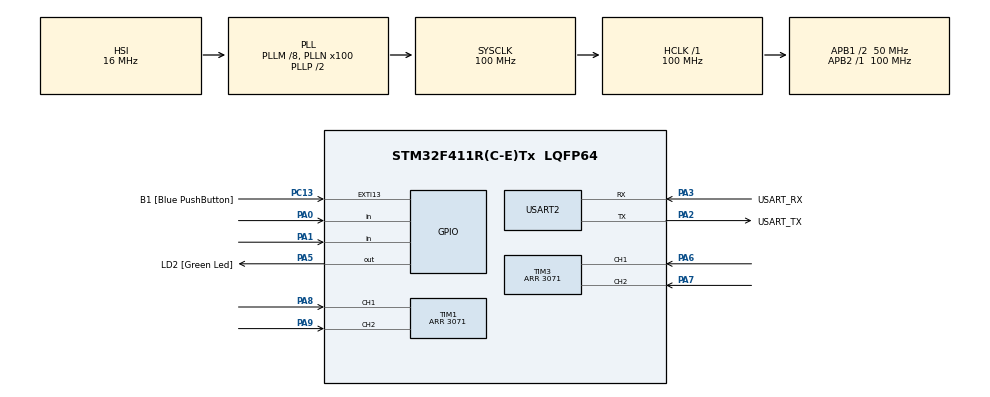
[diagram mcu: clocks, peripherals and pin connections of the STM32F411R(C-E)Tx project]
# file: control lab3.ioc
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Mcu.Family=STM32F4
Mcu.Name=STM32F411R(C-E)Tx
Mcu.Package=LQFP64
NVIC.PriorityGroup=NVIC_PRIORITYGROUP_0
NVIC.TIM1_BRK_TIM9_IRQn=true\:0\:0\:false\:false\:true\:true\:true
NVIC.TIM1_CC_IRQn=true\:0\:0\:false\:false\:true\:true\:true
NVIC.TIM1_TRG_COM_TIM11_IRQn=true\:0\:0\:false\:false\:true\:true\:true
NVIC.TIM1_UP_TIM10_IRQn=true\:0\:0\:false\:false\:true\:true\:true
NVIC.TIM2_IRQn=true\:0\:0\:false\:false\:true\:true\:true
NVIC.TIM3_IRQn=true\:0\:0\:false\:false\:true\:true\:true
PA0-WKUP.GPIO_PuPd=GPIO_PULLUP
PA0-WKUP.Signal=GPIO_Input
PA1.GPIO_PuPd=GPIO_PULLUP
PA1.Signal=GPIO_Input
PA13.GPIO_Label=TMS
PA13.Mode=Serial_Wire
PA13.Signal=SYS_JTMS-SWDIO
PA14.GPIO_Label=TCK
PA14.Mode=Serial_Wire
PA14.Signal=SYS_JTCK-SWCLK
PA2.GPIO_Label=USART_TX
PA2.Mode=Asynchronous
PA2.Signal=USART2_TX
PA3.GPIO_Label=USART_RX
PA3.Mode=Asynchronous
PA3.Signal=USART2_RX
PA5.GPIO_Label=LD2 [Green Led]
PA5.Signal=GPIO_Output
PA6.Signal=S_TIM3_CH1
PA7.Signal=S_TIM3_CH2
PA8.Signal=S_TIM1_CH1
PA9.Signal=S_TIM1_CH2
PB3.GPIO_Label=SWO
PB3.Signal=SYS_JTDO-SWO
PC13-ANTI_TAMP.GPIO_Label=B1 [Blue PushButton]
PC13-ANTI_TAMP.GPIO_ModeDefaultEXTI=GPIO_MODE_IT_FALLING
PC13-ANTI_TAMP.Signal=GPXTI13
PC14-OSC32_IN.Mode=LSE-External-Oscillator
PC14-OSC32_IN.Signal=RCC_OSC32_IN
PC15-OSC32_OUT.Mode=LSE-External-Oscillator
PC15-OSC32_OUT.Signal=RCC_OSC32_OUT
PH0\ -\ OSC_IN.Mode=HSE-External-Clock-Source
PH0\ -\ OSC_IN.Signal=RCC_OSC_IN
PH1\ -\ OSC_OUT.Mode=HSE-External-Clock-Source
PH1\ -\ OSC_OUT.Signal=RCC_OSC_OUT
ProjectManager.HeapSize=0x200
ProjectManager.StackSize=0x400
ProjectManager.TargetToolchain=STM32CubeIDE
RCC.48MHZClocksFreq_Value=50000000
RCC.AHBFreq_Value=100000000
RCC.APB1CLKDivider=RCC_HCLK_DIV2
RCC.APB1Freq_Value=50000000
RCC.APB1TimFreq_Value=100000000
RCC.APB2Freq_Value=100000000
RCC.APB2TimFreq_Value=100000000
RCC.CortexFreq_Value=100000000
RCC.FLatency-AdvancedSettings=FLASH_LATENCY_3
RCC.HCLKFreq_Value=100000000
RCC.HSE_VALUE=8000000
RCC.HSI_VALUE=16000000
RCC.PLLM=8
RCC.PLLN=100
RCC.SYSCLKFreq_VALUE=100000000
RCC.SYSCLKSource=RCC_SYSCLKSOURCE_PLLCLK
RCC.VCOOutputFreq_Value=200000000
SH.S_TIM1_CH1.0=TIM1_CH1,Encoder_Interface
SH.S_TIM1_CH2.0=TIM1_CH2,Encoder_Interface
SH.S_TIM3_CH1.0=TIM3_CH1,Encoder_Interface
SH.S_TIM3_CH2.0=TIM3_CH2,Encoder_Interface
TIM1.Period=3071
TIM2.Prescaler=99
TIM3.Period=3071
USART2.VirtualMode=VM_ASYNC
VP_TIM2_VS_ClockSourceINT.Mode=Internal
board=NUCLEO-F411RE

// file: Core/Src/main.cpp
/* USER CODE BEGIN Header */
/**
 ******************************************************************************
 * @file           : main.c
 * @brief          : Main program body
 ******************************************************************************
 * @attention
 *
 * Copyright (c) 2022 STMicroelectronics.
 * All rights reserved.
 *
 * This software is licensed under terms that can be found in the LICENSE file
 * in the root directory of this software component.
 * If no LICENSE file comes with this software, it is provided AS-IS.
 *
 ******************************************************************************
 */
/* USER CODE END Header */
#include "main.h"

/* USER CODE BEGIN Includes */
#include "matrix.h"
#include "kalmanfilter.h"
/* USER CODE END Includes */

TIM_HandleTypeDef htim1;
TIM_HandleTypeDef htim2;
TIM_HandleTypeDef htim3;

UART_HandleTypeDef huart2;

void SystemClock_Config(void);
static void MX_GPIO_Init(void);
static void MX_USART2_UART_Init(void);
static void MX_TIM1_Init(void);
static void MX_TIM2_Init(void);
static void MX_TIM3_Init(void);

/* USER CODE BEGIN 0 */
uint64_t _micros = 0;

matrix A(3,3);
matrix B(3,1);
matrix C(1,3);
matrix D(1,1);
matrix R(1,1);
matrix G(3,1);
matrix Q(1,1);
matrix y(1,1);
matrix u(1,1);

matrix gainK, errorY, U, Y, I33;
matrix P, P_old, P_new;
matrix predictX, predictX_old, predictX_new;
matrix resultX, resultY;

matrix testInv;//test
matrix testTrans;//test

kalman_filter filter;

float DegRel[1];
float pos;

uint64_t micros();
float pos_stack;
float read_pos();
/* USER CODE END 0 */

int main(void) {
	/* USER CODE BEGIN 1 */
	float dt = 1;
	float data_A[9] = { 1, dt, dt * dt / 2, 0, 1, dt, 0, 0, 1 };
	float data_B[3] = { 0, 0, 0 };
	float data_C[3] = { 1, 0, 0 };
	float data_R[1] = { 1 };
	float buf_g = (dt * dt) / 2;
	float data_G[3] = { buf_g, dt, 1.0 };
	float data_Q[1] = { 1 };
	float data_D[1] = { 0 };

	float data_y[1] = { 0.001 };
	float data_u[1] = { 0 };

	A.read(data_A);
	B.read(data_B);
	C.read(data_C);
	D.read(data_D);

	G.read(data_G);
	Q.read(data_Q);
	R.read(data_R);
	u.read(data_u);
	y.read(data_y);

	filter.setAtoD(A, B, C, D);
	filter.setQGR(Q, G, R);
	/* USER CODE END 1 */

	/* MCU Configuration--------------------------------------------------------*/

	/* Reset of all peripherals, Initializes the Flash interface and the Systick. */
	HAL_Init();

	/* Configure the system clock */
	SystemClock_Config();

	/* Initialize all configured peripherals */
	MX_GPIO_Init();
	MX_USART2_UART_Init();
	MX_TIM1_Init();
	MX_TIM2_Init();
	MX_TIM3_Init();

	/* Infinite loop */
	/* USER CODE BEGIN WHILE */
	while (1) {
		for (int i = 0; i < 10; ++i) {
			DegRel[0] = i;
			y.read(DegRel);
			filter.run(u, y);
		}

		/*
		 HAL_Delay(1);
		 float RawRead = read_pos();
		 DegRel[0] = (RawRead/3072.0)*360.0;
		 y.read(DegRel);
		 filter.run(u, y);
		 pos = filter.resultX.data[0][0];
		 */
		/* USER CODE END WHILE */

	}
}

void SystemClock_Config(void) {
	RCC_OscInitTypeDef RCC_OscInitStruct = { 0 };
	RCC_ClkInitTypeDef RCC_ClkInitStruct = { 0 };

	/** Configure the main internal regulator output voltage
	 */
	__HAL_RCC_PWR_CLK_ENABLE();
	__HAL_PWR_VOLTAGESCALING_CONFIG(PWR_REGULATOR_VOLTAGE_SCALE1);
	/** Initializes the RCC Oscillators according to the specified parameters
	 * in the RCC_OscInitTypeDef structure.
	 */
	RCC_OscInitStruct.OscillatorType = RCC_OSCILLATORTYPE_HSI;
	RCC_OscInitStruct.HSIState = RCC_HSI_ON;
	RCC_OscInitStruct.HSICalibrationValue = RCC_HSICALIBRATION_DEFAULT;
	RCC_OscInitStruct.PLL.PLLState = RCC_PLL_ON;
	RCC_OscInitStruct.PLL.PLLSource = RCC_PLLSOURCE_HSI;
	RCC_OscInitStruct.PLL.PLLM = 8;
	RCC_OscInitStruct.PLL.PLLN = 100;
	RCC_OscInitStruct.PLL.PLLP = RCC_PLLP_DIV2;
	RCC_OscInitStruct.PLL.PLLQ = 4;
	if (HAL_RCC_OscConfig(&RCC_OscInitStruct) != HAL_OK) {
		Error_Handler();
	}
	/** Initializes the CPU, AHB and APB buses clocks
	 */
	RCC_ClkInitStruct.ClockType = RCC_CLOCKTYPE_HCLK | RCC_CLOCKTYPE_SYSCLK
			| RCC_CLOCKTYPE_PCLK1 | RCC_CLOCKTYPE_PCLK2;
	RCC_ClkInitStruct.SYSCLKSource = RCC_SYSCLKSOURCE_PLLCLK;
	RCC_ClkInitStruct.AHBCLKDivider = RCC_SYSCLK_DIV1;
	RCC_ClkInitStruct.APB1CLKDivider = RCC_HCLK_DIV2;
	RCC_ClkInitStruct.APB2CLKDivider = RCC_HCLK_DIV1;

	if (HAL_RCC_ClockConfig(&RCC_ClkInitStruct, FLASH_LATENCY_3) != HAL_OK) {
		Error_Handler();
	}
}

static void MX_TIM1_Init(void) {

	TIM_Encoder_InitTypeDef sConfig = { 0 };
	TIM_MasterConfigTypeDef sMasterConfig = { 0 };

	htim1.Instance = TIM1;
	htim1.Init.Prescaler = 0;
	htim1.Init.CounterMode = TIM_COUNTERMODE_UP;
	htim1.Init.Period = 3071;
	htim1.Init.ClockDivision = TIM_CLOCKDIVISION_DIV1;
	htim1.Init.RepetitionCounter = 0;
	htim1.Init.AutoReloadPreload = TIM_AUTORELOAD_PRELOAD_DISABLE;
	sConfig.EncoderMode = TIM_ENCODERMODE_TI1;
	sConfig.IC1Polarity = TIM_ICPOLARITY_RISING;
	sConfig.IC1Selection = TIM_ICSELECTION_DIRECTTI;
	sConfig.IC1Prescaler = TIM_ICPSC_DIV1;
	sConfig.IC1Filter = 0;
	sConfig.IC2Polarity = TIM_ICPOLARITY_RISING;
	sConfig.IC2Selection = TIM_ICSELECTION_DIRECTTI;
	sConfig.IC2Prescaler = TIM_ICPSC_DIV1;
	sConfig.IC2Filter = 0;
	if (HAL_TIM_Encoder_Init(&htim1, &sConfig) != HAL_OK) {
		Error_Handler();
	}
	sMasterConfig.MasterOutputTrigger = TIM_TRGO_RESET;
	sMasterConfig.MasterSlaveMode = TIM_MASTERSLAVEMODE_DISABLE;
	if (HAL_TIMEx_MasterConfigSynchronization(&htim1, &sMasterConfig)
			!= HAL_OK) {
		Error_Handler();
	}

}

static void MX_TIM2_Init(void) {

	TIM_ClockConfigTypeDef sClockSourceConfig = { 0 };
	TIM_MasterConfigTypeDef sMasterConfig = { 0 };

	htim2.Instance = TIM2;
	htim2.Init.Prescaler = 99;
	htim2.Init.CounterMode = TIM_COUNTERMODE_UP;
	htim2.Init.Period = 4294967295;
	htim2.Init.ClockDivision = TIM_CLOCKDIVISION_DIV1;
	htim2.Init.AutoReloadPreload = TIM_AUTORELOAD_PRELOAD_DISABLE;
	if (HAL_TIM_Base_Init(&htim2) != HAL_OK) {
		Error_Handler();
	}
	sClockSourceConfig.ClockSource = TIM_CLOCKSOURCE_INTERNAL;
	if (HAL_TIM_ConfigClockSource(&htim2, &sClockSourceConfig) != HAL_OK) {
		Error_Handler();
	}
	sMasterConfig.MasterOutputTrigger = TIM_TRGO_RESET;
	sMasterConfig.MasterSlaveMode = TIM_MASTERSLAVEMODE_DISABLE;
	if (HAL_TIMEx_MasterConfigSynchronization(&htim2, &sMasterConfig)
			!= HAL_OK) {
		Error_Handler();
	}

}

static void MX_TIM3_Init(void) {

	TIM_Encoder_InitTypeDef sConfig = { 0 };
	TIM_MasterConfigTypeDef sMasterConfig = { 0 };

	htim3.Instance = TIM3;
	htim3.Init.Prescaler = 0;
	htim3.Init.CounterMode = TIM_COUNTERMODE_UP;
	htim3.Init.Period = 3071;
	htim3.Init.ClockDivision = TIM_CLOCKDIVISION_DIV1;
	htim3.Init.AutoReloadPreload = TIM_AUTORELOAD_PRELOAD_DISABLE;
	sConfig.EncoderMode = TIM_ENCODERMODE_TI1;
	sConfig.IC1Polarity = TIM_ICPOLARITY_RISING;
	sConfig.IC1Selection = TIM_ICSELECTION_DIRECTTI;
	sConfig.IC1Prescaler = TIM_ICPSC_DIV1;
	sConfig.IC1Filter = 0;
	sConfig.IC2Polarity = TIM_ICPOLARITY_RISING;
	sConfig.IC2Selection = TIM_ICSELECTION_DIRECTTI;
	sConfig.IC2Prescaler = TIM_ICPSC_DIV1;
	sConfig.IC2Filter = 0;
	if (HAL_TIM_Encoder_Init(&htim3, &sConfig) != HAL_OK) {
		Error_Handler();
	}
	sMasterConfig.MasterOutputTrigger = TIM_TRGO_RESET;
	sMasterConfig.MasterSlaveMode = TIM_MASTERSLAVEMODE_DISABLE;
	if (HAL_TIMEx_MasterConfigSynchronization(&htim3, &sMasterConfig)
			!= HAL_OK) {
		Error_Handler();
	}

}

static void MX_USART2_UART_Init(void) {

	huart2.Instance = USART2;
	huart2.Init.BaudRate = 115200;
	huart2.Init.WordLength = UART_WORDLENGTH_8B;
	huart2.Init.StopBits = UART_STOPBITS_1;
	huart2.Init.Parity = UART_PARITY_NONE;
	huart2.Init.Mode = UART_MODE_TX_RX;
	huart2.Init.HwFlowCtl = UART_HWCONTROL_NONE;
	huart2.Init.OverSampling = UART_OVERSAMPLING_16;
	if (HAL_UART_Init(&huart2) != HAL_OK) {
		Error_Handler();
	}

}

static void MX_GPIO_Init(void) {
	GPIO_InitTypeDef GPIO_InitStruct = { 0 };

	/* GPIO Ports Clock Enable */
	__HAL_RCC_GPIOC_CLK_ENABLE();
	__HAL_RCC_GPIOH_CLK_ENABLE();
	__HAL_RCC_GPIOA_CLK_ENABLE();
	__HAL_RCC_GPIOB_CLK_ENABLE();

	/*Configure GPIO pin Output Level */
	HAL_GPIO_WritePin(LD2_GPIO_Port, LD2_Pin, GPIO_PIN_RESET);

	/*Configure GPIO pin : B1_Pin */
	GPIO_InitStruct.Pin = B1_Pin;
	GPIO_InitStruct.Mode = GPIO_MODE_IT_FALLING;
	GPIO_InitStruct.Pull = GPIO_NOPULL;
	HAL_GPIO_Init(B1_GPIO_Port, &GPIO_InitStruct);

	/*Configure GPIO pins : PA0 PA1 */
	GPIO_InitStruct.Pin = GPIO_PIN_0 | GPIO_PIN_1;
	GPIO_InitStruct.Mode = GPIO_MODE_INPUT;
	GPIO_InitStruct.Pull = GPIO_PULLUP;
	HAL_GPIO_Init(GPIOA, &GPIO_InitStruct);

	/*Configure GPIO pin : LD2_Pin */
	GPIO_InitStruct.Pin = LD2_Pin;
	GPIO_InitStruct.Mode = GPIO_MODE_OUTPUT_PP;
	GPIO_InitStruct.Pull = GPIO_NOPULL;
	GPIO_InitStruct.Speed = GPIO_SPEED_FREQ_LOW;
	HAL_GPIO_Init(LD2_GPIO_Port, &GPIO_InitStruct);

}

/* USER CODE BEGIN 4 */
void HAL_TIM_PeriodElapsedCallback(TIM_HandleTypeDef *htim) {
	if (htim == &htim2) {
		_micros += 4294967295;
	}
	if (htim == &htim3) {
		pos_stack += 3071;
	}
}
float read_pos() {
	return pos_stack + htim1.Instance->CNT;
}
uint64_t micros() {
	return _micros + htim2.Instance->CNT;
}

/* USER CODE END 4 */

void Error_Handler(void) {
	__disable_irq();
	while (1) {
	}
}
